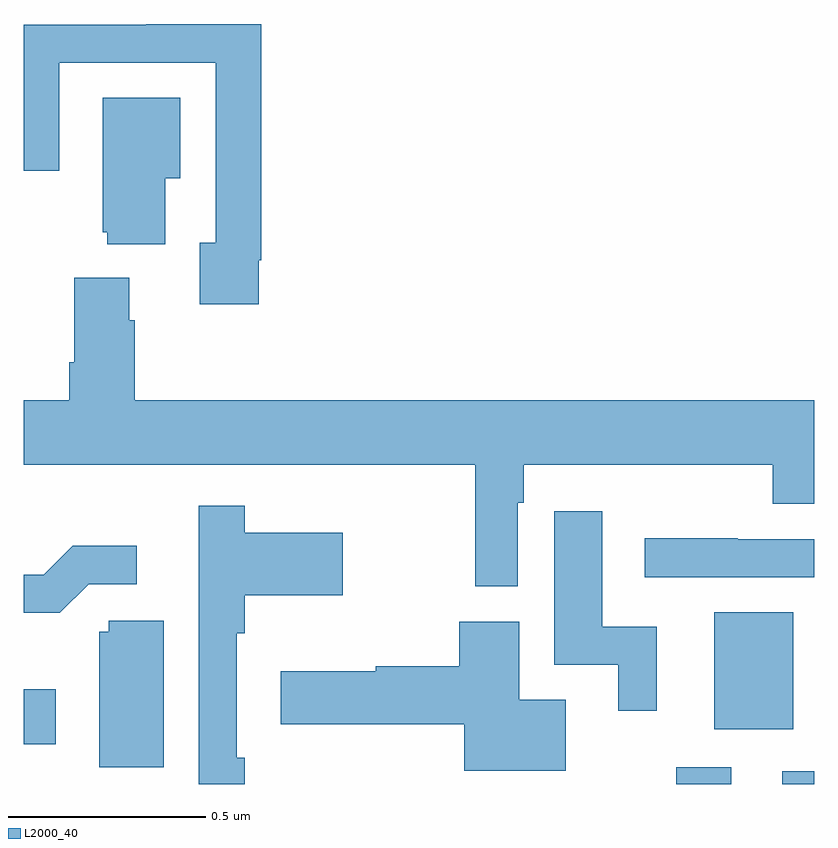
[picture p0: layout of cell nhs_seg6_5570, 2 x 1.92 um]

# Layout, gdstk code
import gdstk
lib = gdstk.Library(unit=1e-6, precision=1e-09)
def R(c, l, rs):  # rectangles x0, y0, x1, y1
    for r in rs: c.add(gdstk.rectangle(r[:2], r[2:], *l))
def P(c, l, *ps):  # polygons
    for p in ps: c.add(gdstk.Polygon(p, *l))
L2000_40 = (2000, 40)

nhs_seg6_5570 = lib.new_cell('nhs_seg6_5570')
R(nhs_seg6_5570, L2000_40, [(185.651,974.5,185.791,974.542), (185.919,974.5,186,974.532), (184,974.6,184.081,974.74), (185.747,974.639,185.947,974.935)])
P(nhs_seg6_5570, L2000_40, [(184.594,975.826),(184.601,975.826),(184.601,976.424),(184.309,976.424),(184.309,976.422),(184,976.422),(184,976.053),(184.089,976.053),(184.089,976.326),(184.485,976.326),(184.485,975.87),(184.445,975.87),(184.445,975.714),(184.594,975.714)],
  [(184.357,976.034),(184.396,976.034),(184.396,976.237),(184.199,976.237),(184.199,975.897),(184.211,975.897),(184.211,975.866),(184.357,975.866)],
  [(185.142,975),(185.25,975),(185.25,975.212),(185.265,975.212),(185.265,975.308),(185.896,975.308),(185.896,975.209),(186,975.209),(186,975.472),(184.28,975.472),(184.28,975.674),(184.267,975.674),(184.267,975.781),(184.127,975.781),(184.127,975.568),(184.115,975.568),(184.115,975.472),(184,975.472),(184,975.308),(185.142,975.308)],
  [(184.559,974.567),(184.539,974.567),(184.539,974.882),(184.559,974.882),(184.559,974.978),(184.807,974.978),(184.807,975.136),(184.559,975.136),(184.559,975.205),(184.442,975.205),(184.442,974.982),(184.443,974.982),(184.443,974.5),(184.559,974.5)],
  [(185.602,974.898),(185.464,974.898),(185.464,975.19),(185.343,975.19),(185.343,975.077),(185.342,975.077),(185.342,974.802),(185.504,974.802),(185.504,974.685),(185.602,974.685)],
  [(186,975.12),(185.807,975.12),(185.807,975.122),(185.571,975.122),(185.571,975.024),(186,975.024)],
  [(184.164,975.006),(184.285,975.006),(184.285,975.103),(184.123,975.103),(184.05,975.03),(184,975.03),(184,974.933),(184.091,974.933)],
  [(184.354,974.913),(184.215,974.913),(184.215,974.886),(184.19,974.886),(184.19,974.542),(184.354,974.542)],
  [(185.371,974.713),(185.254,974.713),(185.254,974.911),(185.102,974.911),(185.102,974.798),(184.89,974.798),(184.89,974.785),(184.65,974.785),(184.65,974.651),(185.114,974.651),(185.114,974.534),(185.371,974.534)])

lib.write_gds('nhs_seg6_5570.gds')
